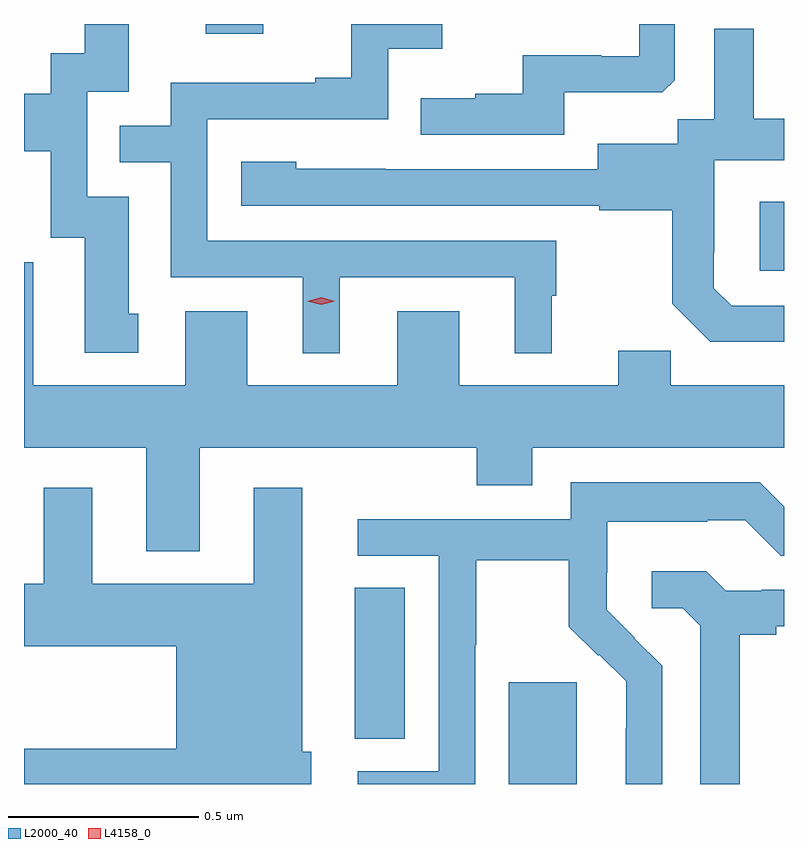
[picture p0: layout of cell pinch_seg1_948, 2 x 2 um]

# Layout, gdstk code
import gdstk
lib = gdstk.Library(unit=1e-6, precision=1e-09)
def R(c, l, rs):  # rectangles x0, y0, x1, y1
    for r in rs: c.add(gdstk.rectangle(r[:2], r[2:], *l))
def P(c, l, *ps):  # polygons
    for p in ps: c.add(gdstk.Polygon(p, *l))
L2000_40 = (2000, 40)
L4158_0 = (4158, 0)

pinch_seg1_948 = lib.new_cell('pinch_seg1_948')
R(pinch_seg1_948, L2000_40, [(155.999,537.527,156.178,537.795), (155.594,537.646,155.725,538.043), (156.659,538.878,156.723,539.059), (155.201,539.502,155.353,539.527)])
P(pinch_seg1_948, L2000_40, [(156.145,539.348),(156.403,539.348),(156.435,539.379),(156.435,539.527),(156.342,539.527),(156.342,539.442),(156.242,539.442),(156.242,539.445),(156.035,539.445),(156.035,539.344),(155.911,539.344),(155.911,539.332),(155.767,539.332),(155.767,539.235),(156.145,539.235)],
  [(155.023,538.764),(154.999,538.764),(154.999,539.073),(154.89,539.073),(154.89,539.349),(154.999,539.349),(154.999,539.527),(154.883,539.527),(154.883,539.45),(154.793,539.45),(154.793,539.344),(154.723,539.344),(154.723,539.192),(154.794,539.192),(154.794,538.965),(154.883,538.965),(154.883,538.662),(155.023,538.662)],
  [(155.554,538.86),(156.014,538.86),(156.014,538.661),(156.112,538.661),(156.112,538.812),(156.124,538.812),(156.124,538.956),(155.205,538.956),(155.205,539.277),(155.682,539.277),(155.682,539.462),(155.824,539.462),(155.824,539.527),(155.584,539.527),(155.584,539.386),(155.489,539.386),(155.489,539.373),(155.109,539.373),(155.109,539.259),(154.975,539.259),(154.975,539.163),(155.109,539.163),(155.109,538.86),(155.456,538.86),(155.456,538.661),(155.554,538.661)],
  [(156.723,538.785),(156.585,538.785),(156.538,538.832),(156.538,538.927),(156.54,538.927),(156.54,539.168),(156.723,539.168),(156.723,539.278),(156.643,539.278),(156.643,539.515),(156.539,539.515),(156.539,539.276),(156.444,539.276),(156.444,539.212),(156.233,539.212),(156.233,539.145),(155.675,539.145),(155.675,539.146),(155.439,539.146),(155.439,539.164),(155.295,539.164),(155.295,539.049),(156.237,539.049),(156.237,539.037),(156.429,539.037),(156.429,538.791),(156.529,538.691),(156.723,538.691)],
  [(154.747,538.9),(154.723,538.9),(154.723,538.412),(155.045,538.412),(155.045,538.139),(155.185,538.139),(155.185,538.412),(155.914,538.412),(155.914,538.313),(156.061,538.313),(156.061,538.412),(156.723,538.412),(156.723,538.576),(156.425,538.576),(156.425,538.667),(156.287,538.667),(156.287,538.576),(155.869,538.576),(155.869,538.771),(155.705,538.771),(155.705,538.576),(155.311,538.576),(155.311,538.771),(155.147,538.771),(155.147,538.576),(154.747,538.576)],
  [(155.91,537.892),(155.913,537.892),(155.913,538.116),(156.157,538.116),(156.157,537.941),(156.234,537.864),(156.237,537.867),(156.308,537.797),(156.308,537.674),(156.306,537.674),(156.306,537.527),(156.402,537.527),(156.402,537.838),(156.329,537.911),(156.33,537.912),(156.256,537.986),(156.256,538.083),(156.258,538.083),(156.258,538.217),(156.521,538.217),(156.521,538.221),(156.621,538.221),(156.714,538.128),(156.723,538.128),(156.723,538.257),(156.659,538.321),(156.162,538.321),(156.162,538.224),(155.601,538.224),(155.601,538.128),(155.814,538.128),(155.814,537.561),(155.601,537.561),(155.601,537.527),(155.91,537.527)],
  [(155.479,537.612),(155.455,537.612),(155.455,538.306),(155.327,538.306),(155.327,538.054),(154.903,538.054),(154.903,538.306),(154.775,538.306),(154.775,538.054),(154.723,538.054),(154.723,537.89),(155.123,537.89),(155.123,537.62),(154.723,537.62),(154.723,537.527),(155.479,537.527)],
  [(156.607,537.92),(156.703,537.92),(156.703,537.942),(156.723,537.942),(156.723,538.038),(156.664,538.038),(156.664,538.035),(156.57,538.035),(156.518,538.087),(156.375,538.087),(156.375,537.99),(156.456,537.99),(156.503,537.943),(156.503,537.527),(156.607,537.527)])
P(pinch_seg1_948, L4158_0, [(155.505,538.788),(155.469,538.798),(155.469,538.798),(155.469,538.798),(155.505,538.808),(155.541,538.798),(155.541,538.798),(155.541,538.798)])

lib.write_gds('pinch_seg1_948.gds')
